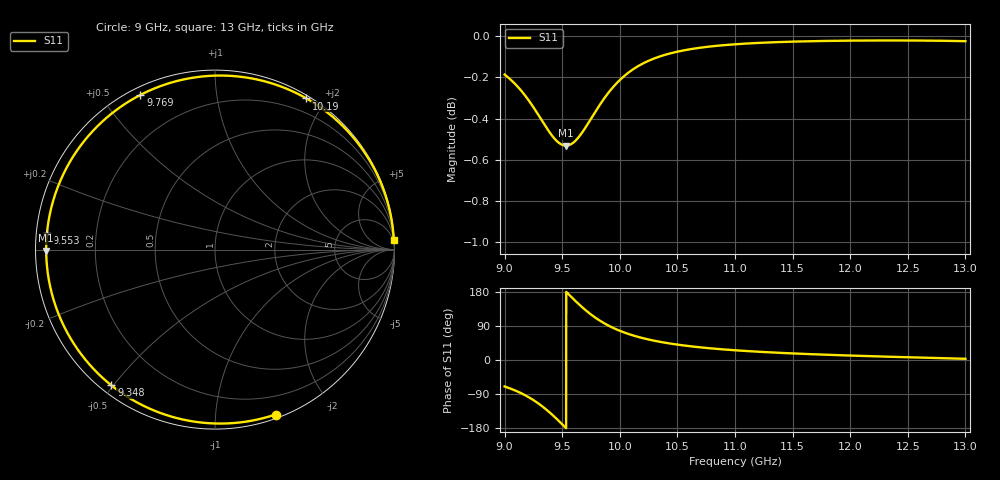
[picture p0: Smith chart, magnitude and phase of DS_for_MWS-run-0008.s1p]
! TOUCHSTONE file generated by CST DESIGN STUDIO
! Date and time: Tue Feb  4 14:16:04 2025
! Project name: C:\Work\MatlabApps\UnitCellOptimizationMatlab\CST\unitcell.cst
! Tree item: Tasks\Sweep1\SPara1\S-Parameters
! Header version: 2024
! Port assignment regex: !\s*Touchstone port\s*([0-9]+)\s*=\s*(CST MWS port|CST DES external port|CST DES block port)\s*(.+)\s* \(\"(.*)\"\)(\s*mode\s*([0-9]+))?.*
! Touchstone port assignment:
! Touchstone port 1 = CST DES external port 1 ("")
# GHz S MA R 50
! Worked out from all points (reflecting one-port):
!   4001 points, 9 GHz to 13 GHz, reference 50 ohm
!   lowest |S11| = -0.5 dB at 9.533 GHz (marker M1), VSWR 32.68, Z = 1.53 - j0.136 ohm
!   phase of S11 starts at -70 deg and turns -287 deg over the sweep
!   S11 on the Smith chart (normalised r, x): 9 GHz: 0.03, -1.43; 9.348 GHz: 0.03, -0.49; 9.553 GHz: 0.03, +0.05; 9.769 GHz: 0.03, +0.63; 10.19 GHz: 0.03, +1.77; 13 GHz: 2, +36
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9  0.9788 -69.9
9.098  0.9732 -81.3
9.206  0.965 -97.7
9.281  0.9581 -112.1
9.348  0.9516 -127.3
9.42  0.9453 -146.3
9.462  0.9425 -158.3
9.5  0.941 -169.7
9.533  0.9406 -179.7
9.553  0.9408 174.2
9.607  0.9427 158.0
9.667  0.947 141.0
9.717  0.9516 128.0
9.769  0.9568 115.8
9.817  0.9615 105.7
9.87  0.9663 96.0
9.935  0.9714 85.7
10  0.9758 77.1
10.088  0.9805 67.4
10.185  0.9843 58.8
10.329  0.9883 49.1
10.5  0.9914 40.6
10.721  0.9938 32.7
11  0.9955 25.7
11.5  0.997 17.3
12  0.9975 11.7
12.5  0.9976 7.3
13  0.9972 3.2
